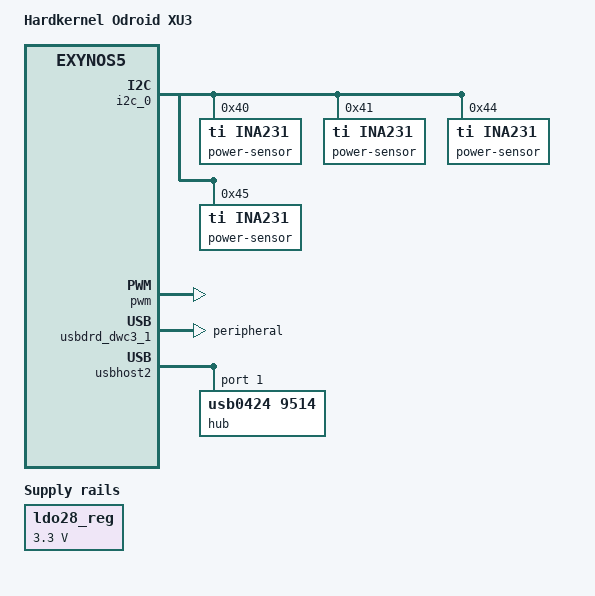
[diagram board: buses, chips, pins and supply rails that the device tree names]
// SPDX-License-Identifier: GPL-2.0
/*
 * Hardkernel Odroid XU3 board device tree source
 *
 * Copyright (c) 2014 Collabora Ltd.
 * Copyright (c) 2013 Samsung Electronics Co., Ltd.
 *		http://www.samsung.com
 */

/dts-v1/;
#include "exynos5422-odroidxu3-common.dtsi"
#include "exynos5422-odroidxu3-audio.dtsi"
#include "exynos54xx-odroidxu-leds.dtsi"

/ {
	model = "Hardkernel Odroid XU3";
	compatible = "hardkernel,odroid-xu3", "samsung,exynos5800", "samsung,exynos5";

	aliases {
		ethernet = &ethernet;
	};
};

&i2c_0 {
	status = "okay";

	/* A15 cluster: VDD_ARM */
	power-sensor@40 {
		compatible = "ti,ina231";
		reg = <0x40>;
		shunt-resistor = <10000>;
	};

	/* memory: VDD_MEM */
	power-sensor@41 {
		compatible = "ti,ina231";
		reg = <0x41>;
		shunt-resistor = <10000>;
	};

	/* GPU: VDD_G3D */
	power-sensor@44 {
		compatible = "ti,ina231";
		reg = <0x44>;
		shunt-resistor = <10000>;
	};

	/* A7 cluster: VDD_KFC */
	power-sensor@45 {
		compatible = "ti,ina231";
		reg = <0x45>;
		shunt-resistor = <10000>;
	};
};

&ldo28_reg {
	regulator-name = "dp_p3v3";
	regulator-min-microvolt = <3300000>;
	regulator-max-microvolt = <3300000>;
};

&pwm {
	/*
	 * PWM 0 -- fan
	 * PWM 1 -- Green LED
	 * PWM 2 -- Blue LED
	 * PWM 3 -- on MIPI connector for backlight
	 */
	pinctrl-0 = <&pwm0_out &pwm1_out &pwm2_out &pwm3_out>;
	pinctrl-names = "default";
	status = "okay";
};

&usbdrd_dwc3_1 {
	dr_mode = "peripheral";
};

&usbhost2 {
	#address-cells = <1>;
	#size-cells = <0>;

	hub@1 {
		compatible = "usb0424,9514";
		reg = <1>;
		#address-cells = <1>;
		#size-cells = <0>;

		ethernet: usbether@1 {
			compatible = "usb0424,ec00";
			reg = <1>;
			local-mac-address = [00 00 00 00 00 00]; /* Filled in by a bootloader */
		};
	};
};
